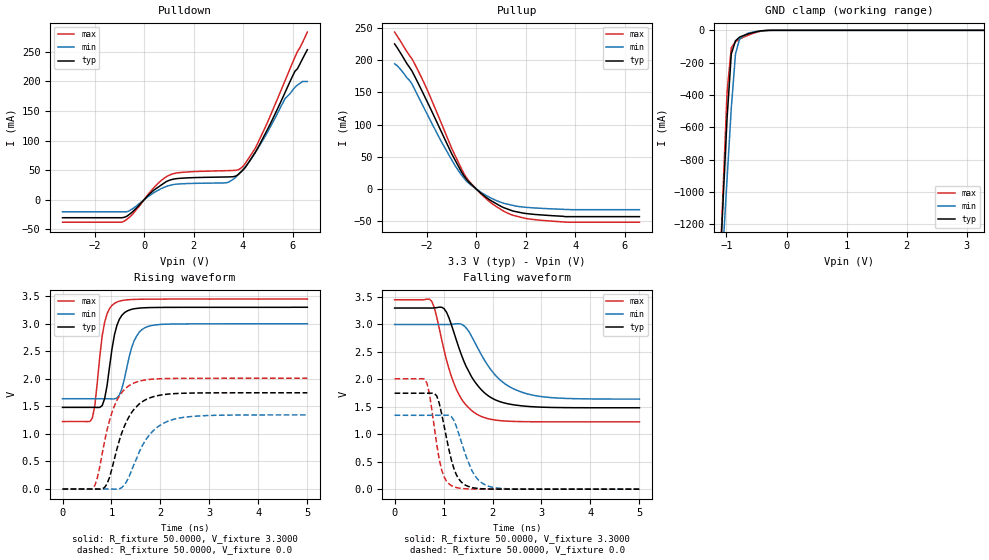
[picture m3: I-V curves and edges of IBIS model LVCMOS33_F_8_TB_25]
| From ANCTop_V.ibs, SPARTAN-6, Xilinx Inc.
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|   Model LVCMOS33_F_8_TB_25
[Model]  LVCMOS33_F_8_TB_25
Model_type I/O
Polarity   Non-Inverting
Enable   Active-Low
Vinl =   0.8000V
Vinh =   2.0000V
Vmeas =  1.6500V
Cref =   0.0F
Rref =   1.0000M
Vref =   0.0V
C_comp   5.71pF   5.63pF   6.21pF
|C_comp  6.33pF   6.15pF   6.69pF
[Temperature Range]   25.0000   85.0000   0.0
[Voltage Range]   3.3000V   3.0000V   3.4500V
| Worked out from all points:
|   slope of the pulldown table from 0 to 0.495 V, typ, clamps not added: 25.9 ohm
|   slope of the pullup table from 0 to 0.495 V, typ, clamps not added: 31.7 ohm
|   GND clamp passes 1 mA (typ) near -0.36 V on its own axis
|   rising waveform, R_fixture 50.0000, V_fixture 3.3000: 20-80 % time 197ps typ, 247ps min, 177ps max; typ from 1.48 V to 3.3 V
|   rising waveform, R_fixture 50.0000, V_fixture 0.0: 20-80 % time 415ps typ, 496ps min, 350ps max; typ from 0 V to 1.75 V
|   falling waveform, R_fixture 50.0000, V_fixture 3.3000: 20-80 % time 555ps typ, 659ps min, 454ps max; typ from 3.3 V to 1.48 V
|   falling waveform, R_fixture 50.0000, V_fixture 0.0: 20-80 % time 268ps typ, 337ps min, 214ps max; typ from 1.75 V to 0 V
[Pulldown]
|Voltage   I(typ)   I(min)   I(max)
-3.3V     -30.5mA    -20.46mA   -38.05mA
-900mV    -30.5mA    -20.46mA   -38.05mA
-600mV    -24.95mA   -18.79mA   -29.9mA
400mV     16.41mA    12.01mA    20.58mA
1V        32.51mA    23.87mA    41.11mA
3.3V      38.44mA    28.56mA    49.1mA
3.9V      46.23mA    46.94mA    52.96mA
4.5V      80.66mA    80.05mA    87.41mA
5.7V      181.5mA    171.3mA    201.5mA
6.1V      217.4mA    190.3mA    241.3mA
6.2V      221.6mA    193.9mA    250.7mA
6.6V      253.7mA    200mA      283.6mA
[Pullup]
|Voltage   I(typ)   I(min)   I(max)
-3.3V     225.3mA    194.4mA    243.7mA
-2.7V     189.1mA    168.9mA    207.4mA
-2.2V     152.8mA    132.7mA    172.2mA
-1.4V     88.08mA    72.93mA    101.2mA
-1V       55.36mA    45.91mA    63.83mA
-600mV    26.63mA    21.9mA     31.56mA
-300mV    11mA       8.979mA    12.67mA
600mV     -18.22mA   -14.18mA   -21.53mA
1.4V      -33.09mA   -24.8mA    -39.64mA
2.2V      -38.95mA   -29.07mA   -46.89mA
3.7V      -42.98mA   -31.94mA   -51.6mA
6.6V      -42.98mA   -32.2mA    -51.6mA
[GND_clamp]
|Voltage   I(typ)   I(min)   I(max)
-3.3V     -18.64A    -15.53A    -21.83A
-1.13V    -1.631A    -1.8A      -1.668A
-1.06V    -1.087A    -1.36A     -1.023A
-990mV    -544.3mA   -921.6mA   -382.9mA
-920mV    -146.9mA   -482.6mA   -108.3mA
-850mV    -64.76mA   -146.8mA   -71.34mA
-780mV    -41.68mA   -51.26mA   -54.55mA
-640mV    -21.93mA   -17.51mA   -30.76mA
-430mV    -3.443mA   -4.246mA   -5.683mA
-290mV    -154.6uA   -176.3uA   -414.5uA
3.28V     34.7nA     269.5nA    30.6nA
[POWER_clamp]
|Voltage   I(typ)   I(min)   I(max)
-3.28V    0A         0A         0A
-3.24V    0A         0A         0A
-3.2V     0A         0A         0A
0V        0A         0A         0A
[Ramp]
| variable   typ   min   max
dV/dt_r  1.0482/0.4133n   0.8070/0.4942n   1.2066/0.3499n
dV/dt_f  1.0902/0.5532n   0.8154/0.6579n   1.3344/0.4521n
R_load = 50.0000
[Rising Waveform]
R_fixture= 50.0000
V_fixture= 3.3000
V_fixture_min= 3.0000
V_fixture_max= 3.4500
|time   V(typ)   V(min)   V(max)
0s        1.482V     1.639V     1.225V
610ps     1.482V     1.639V     1.292V
660ps     1.482V     1.639V     1.513V
810ps     1.514V     1.639V     2.782V
860ps     1.641V     1.639V     3.026V
1.11ns    2.969V     1.652V     3.393V
1.21ns    3.151V     1.817V     3.42V
1.46ns    3.271V     2.687V     3.442V
1.72ns    3.292V     2.942V     3.446V
5ns       3.299V     2.999V     3.448V
[Rising Waveform]
R_fixture= 50.0000
V_fixture= 0.0
|time   V(typ)   V(min)   V(max)
0s        7.407uV    983.4nV    1.013uV
610ps     -38.56uV   -2.647uV   8.524mV
710ps     173.6uV    -5.823uV   199.3mV
860ps     29.8mV     -35.05uV   872.1mV
1.11ns    722.8mV    -2.385mV   1.608V
1.26ns    1.133V     70.25mV    1.803V
1.46ns    1.447V     448.3mV    1.925V
1.82ns    1.666V     1.028V     1.993V
2.27ns    1.731V     1.265V     2.007V
5ns       1.747V     1.345V     2.011V
[Falling Waveform]
R_fixture= 50.0000
V_fixture= 3.3000
V_fixture_min= 3.0000
V_fixture_max= 3.4500
|time   V(typ)   V(min)   V(max)
0s        3.299V     3V         3.45V
760ps     3.299V     3V         3.42V
860ps     3.307V     3V         3.137V
1.01ns    3.288V     3V         2.531V
1.26ns    2.719V     3.013V     1.822V
1.46ns    2.237V     2.939V     1.53V
1.72ns    1.862V     2.534V     1.345V
2.12ns    1.604V     2.019V     1.252V
2.63ns    1.515V     1.757V     1.23V
5ns       1.483V     1.641V     1.226V
[Falling Waveform]
R_fixture= 50.0000
V_fixture= 0.0
|time   V(typ)   V(min)   V(max)
0s        1.748V     1.346V     2.011V
660ps     1.748V     1.346V     1.933V
710ps     1.748V     1.346V     1.744V
860ps     1.7V       1.346V     821.1mV
960ps     1.377V     1.346V     351.2mV
1.21ns    378.4mV    1.255V     43.53mV
1.36ns    131.5mV    869.2mV    14.22mV
1.57ns    31.31mV    353.8mV    3.211mV
1.92ns    3.548mV    53.5mV     337.7uV
5ns       36.63uV    46.92uV    27.6uV
